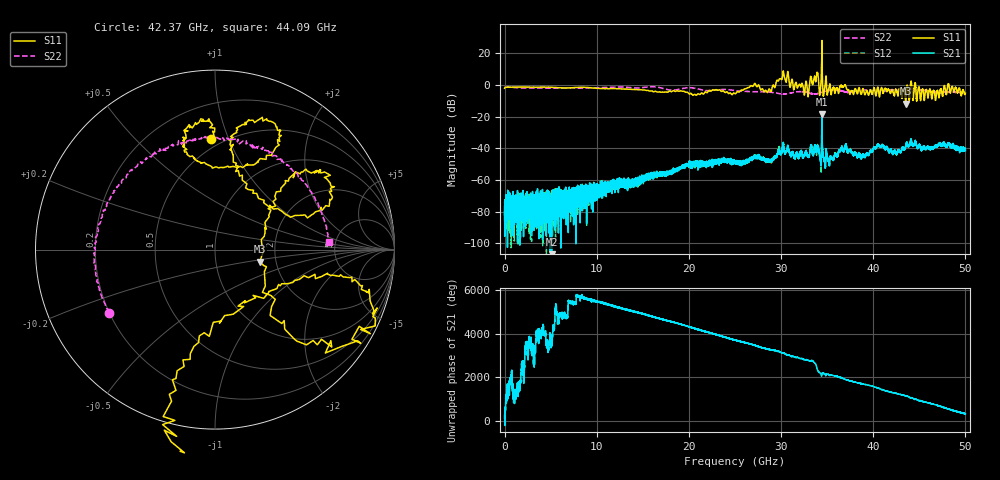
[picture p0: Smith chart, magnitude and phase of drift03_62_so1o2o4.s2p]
!Created with skrf (http://scikit-rf.org).
# Hz S RI R 50.0
!freq ReS11 ImS11 ReS21 ImS21 ReS12 ImS12 ReS22 ImS22
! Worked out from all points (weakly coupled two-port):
!   10000 points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, 5.3 MHz to 50 GHz, reference 50 ohm
!   highest |S21| = -18.33 dB at 34.43 GHz (marker M1); lowest = -112.0 dB at 5.1 GHz (marker M2)
!   lowest |S11| = -11.7 dB at 43.53 GHz (marker M3), VSWR 1.70, Z = 82.2 - j12 ohm
!   |S11| at or under -10 dB: 43.48523 GHz to 43.54731 GHz (62.08 MHz wide, 0.143 % of centre); 44.70792 GHz to 44.71166 GHz (3.74 MHz wide, 0.00837 % of centre)
!   |S22| runs from -5.8 to -1.1 dB; largest |S21 - S12| = 0.03
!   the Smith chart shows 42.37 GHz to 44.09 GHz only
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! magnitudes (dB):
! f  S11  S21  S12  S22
! 5.3 MHz  -2.1  -80.2  -81.7  -1.3
! 5.1 GHz  -1.5  -112.0  -67.4  -2.1
! 8.34 GHz  -1.5  -69.0  -70.4  -2.1
! 16.67 GHz  -4.4  -55.8  -56.5  -1.5
! 20.29 GHz  -5.6  -49.7  -48.7  -1.8
! 25.01 GHz  -5.5  -49.1  -48.9  -3.5
! 27.02 GHz  -0.3  -45.8  -45.3  -4.3
! 28.72 GHz  -2.5  -47.3  -47.5  -4.5
! 30.14 GHz  4.4  -40.6  -40.5  -5.6
! 32.74 GHz  2.0  -42.3  -42.0  -4.5
! 33.34 GHz  2.6  -39.8  -40.7  -5.6
! 33.82 GHz  4.0  -41.9  -42.5  -5.7
! 34.43 GHz  28.1  -18.3  -19.3  -4.6
! 35.31 GHz  0.5  -46.7  -45.8  -3.3
! 36.83 GHz  -0.8  -42.0  -41.1  -4.2
! 38.85 GHz  -2.7  -45.3  -44.1  -3.2
! 40.62 GHz  -5.6  -38.4  -38.6  -4.0
! 41.67 GHz  -2.9  -42.2  -42.1  -3.3
! 43.53 GHz  -11.7  -38.2  -39.0  -4.1
! 46.94 GHz  -3.7  -38.3  -38.6  -4.9
! 48.32 GHz  -4.6  -39.0  -38.2  -4.6
! 50 GHz  -5.2  -41.6  -40.6  -4.5
